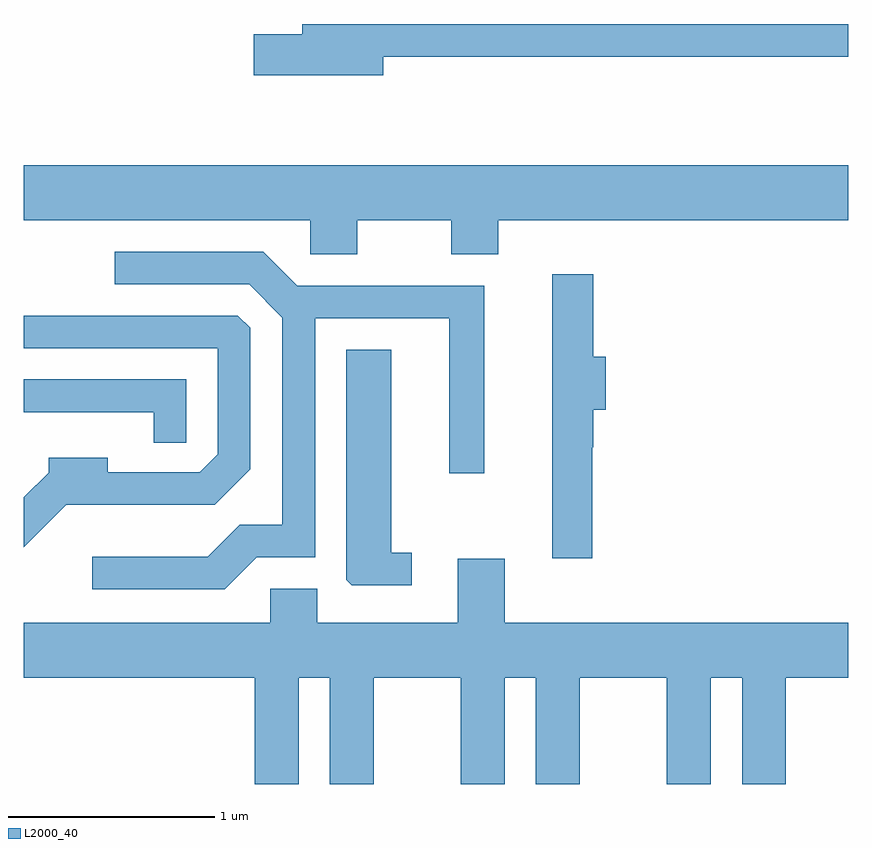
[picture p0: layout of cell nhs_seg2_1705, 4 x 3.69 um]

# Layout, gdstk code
import gdstk
lib = gdstk.Library(unit=1e-6, precision=1e-09)
def P(c, l, *ps):  # polygons
    for p in ps: c.add(gdstk.Polygon(p, *l))
L2000_40 = (2000, 40)

nhs_seg2_1705 = lib.new_cell('nhs_seg2_1705')
P(nhs_seg2_1705, L2000_40, [(237.354,991.391),(239.611,991.391),(239.611,991.549),(236.961,991.549),(236.961,991.499),(236.726,991.499),(236.726,991.301),(237.354,991.301)],
  [(237.229,990.596),(237.686,990.596),(237.686,990.431),(237.914,990.431),(237.914,990.596),(239.611,990.596),(239.611,990.864),(235.611,990.864),(235.611,990.596),(237.001,990.596),(237.001,990.431),(237.229,990.431)],
  [(236.742,988.961),(237.024,988.961),(237.024,990.121),(237.676,990.121),(237.676,989.368),(237.844,989.368),(237.844,990.279),(236.937,990.279),(236.772,990.444),(236.053,990.444),(236.053,990.286),(236.704,990.286),(236.866,990.124),(236.866,989.119),(236.659,989.119),(236.504,988.964),(235.943,988.964),(235.943,988.806),(236.587,988.806)],
  [(238.369,989.495),(238.374,989.495),(238.374,989.676),(238.434,989.676),(238.434,989.934),(238.374,989.934),(238.374,990.334),(238.176,990.334),(238.176,988.956),(238.369,988.956)],
  [(235.817,989.216),(236.537,989.216),(236.709,989.389),(236.709,990.074),(236.649,990.134),(235.611,990.134),(235.611,989.976),(236.551,989.976),(236.551,989.462),(236.464,989.374),(236.019,989.374),(236.019,989.444),(235.731,989.444),(235.731,989.372),(235.611,989.252),(235.611,989.01)],
  [(237.493,988.984),(237.394,988.984),(237.394,989.969),(237.176,989.969),(237.176,988.852),(237.202,988.826),(237.493,988.826)],
  [(236.399,989.824),(235.611,989.824),(235.611,989.666),(236.241,989.666),(236.241,989.518),(236.399,989.518)],
  [(237.944,988.954),(237.716,988.954),(237.716,988.644),(237.034,988.644),(237.034,988.809),(236.806,988.809),(236.806,988.644),(235.611,988.644),(235.611,988.376),(236.731,988.376),(236.731,987.861),(236.944,987.861),(236.944,988.376),(237.096,988.376),(237.096,987.861),(237.309,987.861),(237.309,988.376),(237.731,988.376),(237.731,987.861),(237.944,987.861),(237.944,988.376),(238.096,988.376),(238.096,987.861),(238.309,987.861),(238.309,988.376),(238.731,988.376),(238.731,987.861),(238.944,987.861),(238.944,988.376),(239.096,988.376),(239.096,987.861),(239.309,987.861),(239.309,988.376),(239.611,988.376),(239.611,988.644),(237.944,988.644)])

lib.write_gds('nhs_seg2_1705.gds')
